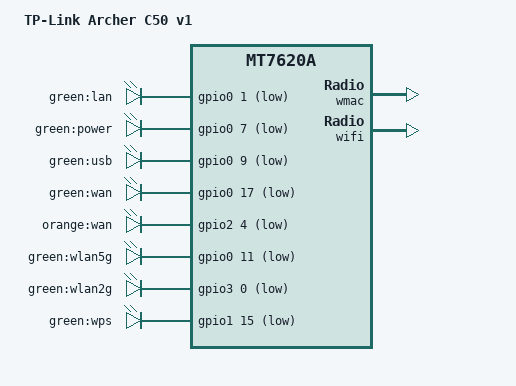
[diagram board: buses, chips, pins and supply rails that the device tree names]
#include "mt7620a_tplink_archer.dtsi"

/ {
	compatible = "tplink,archer-c50-v1", "ralink,mt7620a-soc";
	model = "TP-Link Archer C50 v1";

	aliases {
		led-boot = &led_power;
		led-failsafe = &led_power;
		led-running = &led_power;
		led-upgrade = &led_power;
	};

	leds {
		compatible = "gpio-leds";

		lan {
			label = "green:lan";
			gpios = <&gpio0 1 GPIO_ACTIVE_LOW>;
		};

		led_power: power {
			label = "green:power";
			gpios = <&gpio0 7 GPIO_ACTIVE_LOW>;
			default-state = "on";
		};

		usb {
			label = "green:usb";
			gpios = <&gpio0 9 GPIO_ACTIVE_LOW>;
			trigger-sources = <&ohci_port1>, <&ehci_port1>;
			linux,default-trigger = "usbport";
		};

		wan {
			label = "green:wan";
			gpios = <&gpio0 17 GPIO_ACTIVE_LOW>;
		};

		wan_orange {
			label = "orange:wan";
			gpios = <&gpio2 4 GPIO_ACTIVE_LOW>;
		};

		wlan5g {
			label = "green:wlan5g";
			gpios = <&gpio0 11 GPIO_ACTIVE_LOW>;
			linux,default-trigger = "phy0tpt";
		};

		wlan2g {
			label = "green:wlan2g";
			gpios = <&gpio3 0 GPIO_ACTIVE_LOW>;
			linux,default-trigger = "phy1tpt";
		};

		wps {
			label = "green:wps";
			gpios = <&gpio1 15 GPIO_ACTIVE_LOW>;
		};
	};
};

&state_default {
	gpio {
		groups = "i2c", "uartf", "rgmii1", "rgmii2", "wled", "ephy", "spi refclk", "mdio", "wdt", "nd_sd";
		function = "gpio";
	};
};

&wmac {
	pinctrl-names = "default", "pa_gpio";
	pinctrl-0 = <&pa_pins>;
	pinctrl-1 = <&pa_gpio_pins>;

	nvmem-cells = <&macaddr_rom_f100>;
	nvmem-cell-names = "mac-address";
	mac-address-increment = <(-2)>;
};

&wifi {
	nvmem-cells = <&macaddr_rom_f100>;
	nvmem-cell-names = "mac-address";
	mac-address-increment = <(-1)>;
};
